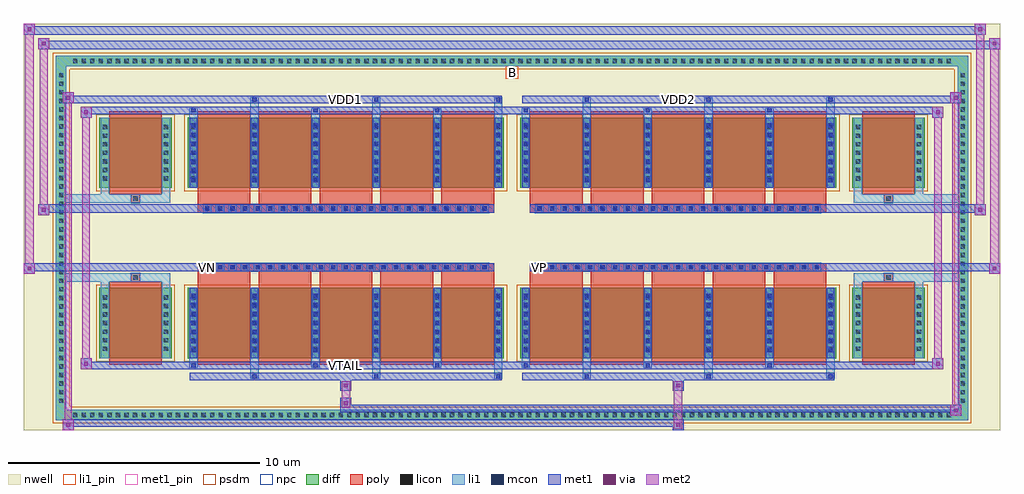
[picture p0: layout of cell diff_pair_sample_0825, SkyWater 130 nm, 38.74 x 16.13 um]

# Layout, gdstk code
import gdstk
lib = gdstk.Library(unit=1e-6, precision=5e-09)
def R(c, l, rs):  # rectangles x0, y0, x1, y1
    for r in rs: c.add(gdstk.rectangle(r[:2], r[2:], *l))
def A(c, l, x, y, w, h, nx, ny, dx, dy):  # array of equal rectangles
    R(c, l, [(x+i*dx, y+j*dy, x+i*dx+w, y+j*dy+h) for i in range(nx) for j in range(ny)])
def P(c, l, *ps):  # polygons
    for p in ps: c.add(gdstk.Polygon(p, *l))
nwell = (64, 20)
diff = (65, 20)
poly = (66, 20)
licon = (66, 44)
li1_pin = (67, 16)
li1 = (67, 20)
mcon = (67, 44)
met1_pin = (68, 16)
met1 = (68, 20)
via = (68, 44)
met2 = (69, 20)
psdm = (94, 20)
npc = (95, 20)

diff_pair_sample_0825 = lib.new_cell('diff_pair_sample_0825')
R(diff_pair_sample_0825, nwell, [(-19.37,-7.63,19.37,8.5), (-16.69,-5.82,-0.01,-0.8), (0.01,-5.82,16.69,-0.8), (-16.69,0.8,-0.01,5.82), (0.01,0.8,16.69,5.82)])
A(diff_pair_sample_0825, diff, -17.545, -7.23, 0.41, 0.41, 103, 2, 0.34, 14.05)
A(diff_pair_sample_0825, diff, -18.1, -6.665, 0.41, 0.41, 1, 39, 0, 0.34)
A(diff_pair_sample_0825, diff, 17.69, -6.665, 0.41, 0.41, 1, 39, 0, 0.34)
R(diff_pair_sample_0825, diff, [(-17.545,-7.23,17.545,-6.82), (-18.1,-6.665,-17.69,6.665), (17.69,-6.665,18.1,6.665), (-16.38,-4.775,-13.51,-1.985), (-12.87,-4.775,-0.32,-1.985), (0.32,-4.775,12.87,-1.985), (13.51,-4.775,16.38,-1.985), (-16.38,1.985,-13.51,4.775), (-12.87,1.985,-0.32,4.775), (0.32,1.985,12.87,4.775), (13.51,1.985,16.38,4.775), (-17.545,6.82,17.545,7.23)])
P(diff_pair_sample_0825, diff, [(18.1,7.23),(-18.1,7.23),(-18.1,-6.82),(-17.69,-6.82),(-17.69,6.82),(17.69,6.82),(17.69,-6.82),(-17.69,-6.82),(-18.1,-6.82),(-18.1,-7.23),(18.1,-7.23)])
A(diff_pair_sample_0825, poly, -12.48, -5.025, 2.09, 3.29, 5, 2, 2.42, 6.76)
A(diff_pair_sample_0825, poly, 0.71, -5.025, 2.09, 3.29, 5, 2, 2.42, 6.76)
A(diff_pair_sample_0825, poly, -12.48, -1.735, 2.09, 0.405, 5, 2, 2.42, 3.065)
A(diff_pair_sample_0825, poly, 0.71, -1.735, 2.09, 0.405, 5, 2, 2.42, 3.065)
A(diff_pair_sample_0825, poly, -12.26, -1.33, 0.33, 0.33, 23, 2, 0.5, 2.33)
A(diff_pair_sample_0825, poly, 0.93, -1.33, 0.33, 0.33, 23, 2, 0.5, 2.33)
R(diff_pair_sample_0825, poly, [(-15.99,-5.025,-13.9,-1.735), (13.9,-5.025,15.99,-1.735), (-15.11,-1.735,-14.78,-1.405), (-15.11,-1.735,-14.78,-1.405), (14.78,-1.735,15.11,-1.405), (14.78,-1.735,15.11,-1.405), (-12.48,-1.33,-0.71,-1), (0.71,-1.33,12.48,-1), (-12.48,1,-0.71,1.33), (0.71,1,12.48,1.33), (-15.11,1.405,-14.78,1.735), (-15.11,1.405,-14.78,1.735), (14.78,1.405,15.11,1.735), (14.78,1.405,15.11,1.735), (-15.99,1.735,-13.9,5.025), (13.9,1.735,15.99,5.025)])
A(diff_pair_sample_0825, licon, -17.425, -7.11, 0.17, 0.17, 103, 2, 0.34, 14.05)
A(diff_pair_sample_0825, licon, -17.98, -6.545, 0.17, 0.17, 1, 39, 0, 0.34)
A(diff_pair_sample_0825, licon, 17.81, -6.545, 0.17, 0.17, 1, 39, 0, 0.34)
A(diff_pair_sample_0825, licon, -16.24, -4.485, 0.17, 0.17, 1, 7, 0, 0.34)
A(diff_pair_sample_0825, licon, -13.82, -4.485, 0.17, 0.17, 1, 7, 0, 0.34)
A(diff_pair_sample_0825, licon, -12.73, -4.485, 0.17, 0.17, 6, 7, 2.42, 0.34)
A(diff_pair_sample_0825, licon, 0.46, -4.485, 0.17, 0.17, 6, 7, 2.42, 0.34)
A(diff_pair_sample_0825, licon, 13.65, -4.485, 0.17, 0.17, 1, 7, 0, 0.34)
A(diff_pair_sample_0825, licon, 16.07, -4.485, 0.17, 0.17, 1, 7, 0, 0.34)
A(diff_pair_sample_0825, licon, -12.18, -1.25, 0.17, 0.17, 23, 2, 0.5, 2.33)
A(diff_pair_sample_0825, licon, 1.01, -1.25, 0.17, 0.17, 23, 2, 0.5, 2.33)
A(diff_pair_sample_0825, licon, -16.24, 2.275, 0.17, 0.17, 1, 7, 0, 0.34)
A(diff_pair_sample_0825, licon, -13.82, 2.275, 0.17, 0.17, 1, 7, 0, 0.34)
A(diff_pair_sample_0825, licon, -12.73, 2.275, 0.17, 0.17, 6, 7, 2.42, 0.34)
A(diff_pair_sample_0825, licon, 0.46, 2.275, 0.17, 0.17, 6, 7, 2.42, 0.34)
A(diff_pair_sample_0825, licon, 13.65, 2.275, 0.17, 0.17, 1, 7, 0, 0.34)
A(diff_pair_sample_0825, licon, 16.07, 2.275, 0.17, 0.17, 1, 7, 0, 0.34)
R(diff_pair_sample_0825, licon, [(-15.03,-1.655,-14.86,-1.485), (14.86,-1.655,15.03,-1.485), (-15.03,1.485,-14.86,1.655), (14.86,1.485,15.03,1.655)])
R(diff_pair_sample_0825, li1_pin, [(-0.25,6.32,0.25,6.82)])
A(diff_pair_sample_0825, li1, -17.505, -7.19, 0.33, 0.33, 103, 2, 0.34, 14.05)
A(diff_pair_sample_0825, li1, -18.06, -6.625, 0.33, 0.33, 1, 39, 0, 0.34)
A(diff_pair_sample_0825, li1, 17.73, -6.625, 0.33, 0.33, 1, 39, 0, 0.34)
A(diff_pair_sample_0825, li1, -10.39, -5.58, 0.33, 0.805, 3, 2, 4.84, 10.355)
A(diff_pair_sample_0825, li1, -10.31, -5.58, 0.17, 0.17, 3, 2, 4.84, 10.99)
A(diff_pair_sample_0825, li1, 2.8, -5.58, 0.33, 0.805, 3, 2, 4.84, 10.355)
A(diff_pair_sample_0825, li1, 2.88, -5.58, 0.17, 0.17, 3, 2, 4.84, 10.99)
A(diff_pair_sample_0825, li1, -12.81, -5.15, 0.33, 0.375, 3, 2, 4.84, 9.925)
A(diff_pair_sample_0825, li1, -12.73, -5.15, 0.17, 0.17, 3, 2, 4.84, 10.13)
A(diff_pair_sample_0825, li1, 0.38, -5.15, 0.33, 0.375, 3, 2, 4.84, 9.925)
A(diff_pair_sample_0825, li1, 0.46, -5.15, 0.17, 0.17, 3, 2, 4.84, 10.13)
A(diff_pair_sample_0825, li1, -12.81, -4.775, 0.33, 2.79, 6, 2, 2.42, 6.76)
A(diff_pair_sample_0825, li1, 0.38, -4.775, 0.33, 2.79, 6, 2, 2.42, 6.76)
A(diff_pair_sample_0825, li1, -16.32, -4.565, 0.33, 0.33, 1, 7, 0, 0.34)
A(diff_pair_sample_0825, li1, -13.9, -4.565, 0.33, 0.33, 1, 7, 0, 0.34)
A(diff_pair_sample_0825, li1, -12.81, -4.565, 0.33, 0.33, 6, 7, 2.42, 0.34)
A(diff_pair_sample_0825, li1, 0.38, -4.565, 0.33, 0.33, 6, 7, 2.42, 0.34)
A(diff_pair_sample_0825, li1, 13.57, -4.565, 0.33, 0.33, 1, 7, 0, 0.34)
A(diff_pair_sample_0825, li1, 15.99, -4.565, 0.33, 0.33, 1, 7, 0, 0.34)
A(diff_pair_sample_0825, li1, -12.73, -4.545, 0.17, 0.17, 6, 7, 2.42, 0.36)
A(diff_pair_sample_0825, li1, -12.73, -4.545, 0.17, 2.33, 6, 2, 2.42, 6.76)
A(diff_pair_sample_0825, li1, 0.46, -4.545, 0.17, 0.17, 6, 7, 2.42, 0.36)
A(diff_pair_sample_0825, li1, 0.46, -4.545, 0.17, 2.33, 6, 2, 2.42, 6.76)
A(diff_pair_sample_0825, li1, -12.26, -1.33, 0.33, 0.33, 23, 2, 0.5, 2.33)
A(diff_pair_sample_0825, li1, 0.93, -1.33, 0.33, 0.33, 23, 2, 0.5, 2.33)
A(diff_pair_sample_0825, li1, -16.32, 2.195, 0.33, 0.33, 1, 7, 0, 0.34)
A(diff_pair_sample_0825, li1, -13.9, 2.195, 0.33, 0.33, 1, 7, 0, 0.34)
A(diff_pair_sample_0825, li1, -12.81, 2.195, 0.33, 0.33, 6, 7, 2.42, 0.34)
A(diff_pair_sample_0825, li1, 0.38, 2.195, 0.33, 0.33, 6, 7, 2.42, 0.34)
A(diff_pair_sample_0825, li1, 13.57, 2.195, 0.33, 0.33, 1, 7, 0, 0.34)
A(diff_pair_sample_0825, li1, 15.99, 2.195, 0.33, 0.33, 1, 7, 0, 0.34)
A(diff_pair_sample_0825, li1, -12.73, 2.215, 0.17, 0.17, 6, 7, 2.42, 0.36)
A(diff_pair_sample_0825, li1, 0.46, 2.215, 0.17, 0.17, 6, 7, 2.42, 0.36)
R(diff_pair_sample_0825, li1, [(-18.1,-7.23,-17.69,-6.82), (-18.1,-7.23,-17.69,-6.82), (-17.69,-7.23,17.69,-6.82), (17.69,-7.23,18.1,-6.82), (17.69,-7.23,18.1,-6.82), (-18.1,-6.82,-17.69,6.82), (17.69,-6.82,18.1,6.82), (-16.32,-4.775,-15.99,-1.985), (-13.9,-4.775,-13.57,-1.985), (13.57,-4.775,13.9,-1.985), (15.99,-4.775,16.32,-1.985), (-16.32,-1.985,-15.99,-1.405), (-13.9,-1.985,-13.57,-1.405), (13.57,-1.985,13.9,-1.405), (15.99,-1.985,16.32,-1.405), (-18.1,-1.735,-15.11,-1.405), (-16.32,-1.735,-15.11,-1.405), (-15.11,-1.735,-14.78,-1.405), (-14.78,-1.735,-13.57,-1.405), (13.57,-1.735,14.78,-1.405), (14.78,-1.735,15.11,-1.405), (14.78,-1.735,18.1,-1.405), (15.11,-1.735,16.32,-1.405), (-18.1,1.405,-15.11,1.735), (-16.32,1.405,-15.11,1.735), (-16.32,1.405,-15.99,1.985), (-15.11,1.405,-14.78,1.735), (-14.78,1.405,-13.57,1.735), (-13.9,1.405,-13.57,1.985), (13.57,1.405,14.78,1.735), (13.57,1.405,13.9,1.985), (14.78,1.405,15.11,1.735), (14.78,1.405,18.1,1.735), (15.11,1.405,16.32,1.735), (15.99,1.405,16.32,1.985), (-16.32,1.985,-15.99,4.775), (-13.9,1.985,-13.57,4.775), (13.57,1.985,13.9,4.775), (15.99,1.985,16.32,4.775), (-18.1,6.82,-17.69,7.23), (-18.1,6.82,-17.69,7.23), (-17.69,6.82,17.69,7.23), (17.69,6.82,18.1,7.23), (17.69,6.82,18.1,7.23)])
A(diff_pair_sample_0825, mcon, -10.31, -5.58, 0.17, 0.17, 3, 2, 4.84, 10.99)
A(diff_pair_sample_0825, mcon, 2.88, -5.58, 0.17, 0.17, 3, 2, 4.84, 10.99)
A(diff_pair_sample_0825, mcon, -12.73, -5.15, 0.17, 0.17, 3, 2, 4.84, 10.13)
A(diff_pair_sample_0825, mcon, 0.46, -5.15, 0.17, 0.17, 3, 2, 4.84, 10.13)
A(diff_pair_sample_0825, mcon, -12.73, -4.545, 0.17, 0.17, 6, 7, 2.42, 0.36)
A(diff_pair_sample_0825, mcon, 0.46, -4.545, 0.17, 0.17, 6, 7, 2.42, 0.36)
A(diff_pair_sample_0825, mcon, -12.18, -1.25, 0.17, 0.17, 23, 2, 0.5, 2.33)
A(diff_pair_sample_0825, mcon, 1.01, -1.25, 0.17, 0.17, 23, 2, 0.5, 2.33)
A(diff_pair_sample_0825, mcon, -12.73, 2.215, 0.17, 0.17, 6, 7, 2.42, 0.36)
A(diff_pair_sample_0825, mcon, 0.46, 2.215, 0.17, 0.17, 6, 7, 2.42, 0.36)
R(diff_pair_sample_0825, met1_pin, [(-6.73,-5.19,-6.46,-4.92), (-12.23,-1.29,-11.96,-1.02), (0.96,-1.29,1.23,-1.02), (-6.73,5.37,-6.46,5.64), (6.46,5.37,6.73,5.64)])
A(diff_pair_sample_0825, met1, -10.37, -5.64, 0.29, 0.29, 3, 2, 4.84, 10.99)
A(diff_pair_sample_0825, met1, 2.82, -5.64, 0.29, 0.29, 3, 2, 4.84, 10.99)
A(diff_pair_sample_0825, met1, -12.79, -5.21, 0.29, 0.29, 3, 2, 4.84, 10.13)
A(diff_pair_sample_0825, met1, 0.4, -5.21, 0.29, 0.29, 3, 2, 4.84, 10.13)
A(diff_pair_sample_0825, met1, -12.79, -4.775, 0.29, 2.79, 6, 2, 2.42, 6.76)
A(diff_pair_sample_0825, met1, 0.4, -4.775, 0.29, 2.79, 6, 2, 2.42, 6.76)
A(diff_pair_sample_0825, met1, -12.79, -4.605, 0.29, 0.29, 6, 7, 2.42, 0.36)
A(diff_pair_sample_0825, met1, 0.4, -4.605, 0.29, 0.29, 6, 7, 2.42, 0.36)
A(diff_pair_sample_0825, met1, -12.24, -1.31, 0.29, 0.29, 23, 2, 0.5, 2.33)
A(diff_pair_sample_0825, met1, 0.95, -1.31, 0.29, 0.29, 23, 2, 0.5, 2.33)
A(diff_pair_sample_0825, met1, -12.79, 2.155, 0.29, 0.29, 6, 7, 2.42, 0.36)
A(diff_pair_sample_0825, met1, 0.4, 2.155, 0.29, 0.29, 6, 7, 2.42, 0.36)
R(diff_pair_sample_0825, met1, [(-17.83,-7.63,-17.4,-7.2), (6.38,-7.63,6.81,-7.2), (-17.83,-7.49,6.81,-7.2), (17.4,-7.06,17.83,-6.63), (-6.81,-6.92,17.83,-6.63), (-6.81,-6.78,-6.38,-6.35), (-6.81,-6.07,-6.38,-5.64), (6.38,-6.07,6.81,-5.64), (-12.79,-5.64,-0.4,-5.35), (0.4,-5.64,12.79,-5.35), (-17.12,-5.21,-16.69,-4.78), (-17.12,-5.21,-12.79,-4.92), (-12.79,-5.21,-0.4,-4.92), (-0.4,-5.21,0.4,-4.92), (0.4,-5.21,12.79,-4.92), (12.79,-5.21,17.12,-4.92), (16.69,-5.21,17.12,-4.78), (-19.37,-1.43,-18.94,-1), (18.94,-1.43,19.37,-1), (-19.37,-1.33,-0.71,-1), (-12.48,-1.33,-0.71,-1), (0.71,-1.33,12.48,-1), (0.71,-1.33,19.37,-1), (-18.8,0.9,-18.37,1.33), (18.37,0.9,18.8,1.33), (-18.8,1,-12.48,1.33), (-12.48,1,-0.71,1.33), (0.71,1,12.48,1.33), (12.48,1,18.8,1.33), (-17.12,4.78,-16.69,5.21), (16.69,4.78,17.12,5.21), (-17.12,4.92,-12.79,5.21), (-12.79,4.92,-0.4,5.21), (-0.4,4.92,0.4,5.21), (0.4,4.92,12.79,5.21), (12.79,4.92,17.12,5.21), (-17.83,5.35,-17.4,5.78), (-17.83,5.35,-12.79,5.64), (-12.79,5.35,-0.4,5.64), (0.4,5.35,12.79,5.64), (12.79,5.35,17.83,5.64), (17.4,5.35,17.83,5.78), (-18.8,7.5,-18.37,7.93), (-18.8,7.5,-16.69,7.83), (-16.69,7.5,16.69,7.83), (16.69,7.5,19.37,7.83), (18.94,7.5,19.37,7.93), (-19.37,8.07,-18.94,8.5), (-19.37,8.07,-16.69,8.4), (-16.69,8.07,16.69,8.4), (16.69,8.07,18.8,8.4), (18.37,8.07,18.8,8.5)])
R(diff_pair_sample_0825, via, [(-17.69,-7.49,-17.54,-7.34), (6.52,-7.49,6.67,-7.34), (17.54,-6.92,17.69,-6.77), (-6.67,-6.64,-6.52,-6.49), (-6.67,-5.93,-6.52,-5.78), (6.52,-5.93,6.67,-5.78), (-16.98,-5.07,-16.83,-4.92), (16.83,-5.07,16.98,-4.92), (-19.23,-1.29,-19.08,-1.14), (19.08,-1.29,19.23,-1.14), (-18.66,1.04,-18.51,1.19), (18.51,1.04,18.66,1.19), (-16.98,4.92,-16.83,5.07), (16.83,4.92,16.98,5.07), (-17.69,5.49,-17.54,5.64), (17.54,5.49,17.69,5.64), (-18.66,7.64,-18.51,7.79), (19.08,7.64,19.23,7.79), (-19.23,8.21,-19.08,8.36), (18.51,8.21,18.66,8.36)])
R(diff_pair_sample_0825, met2, [(-17.83,-7.63,-17.4,-7.2), (-17.76,-7.63,-17.47,5.78), (-17.47,-7.63,-17.4,-7.2), (-17.78,-7.58,-17.45,-7.25), (6.43,-7.58,6.76,-7.25), (6.43,-7.25,6.76,-6.02), (17.4,-7.06,17.83,-6.63), (17.47,-7.06,17.76,5.78), (17.76,-7.06,17.83,-6.63), (17.45,-7.01,17.78,-6.68), (-6.76,-6.73,-6.43,-6.4), (-6.76,-6.4,-6.43,-6.02), (-6.76,-6.02,-6.43,-5.69), (6.43,-6.02,6.76,-5.69), (-17.12,-5.21,-16.69,-4.78), (-17.05,-5.21,-16.76,5.21), (-16.76,-5.21,-16.69,-4.78), (16.69,-5.21,17.12,-4.78), (16.76,-5.21,17.05,5.21), (17.05,-5.21,17.12,-4.78), (-17.07,-5.16,-16.74,-4.83), (16.74,-5.16,17.07,-4.83), (-19.37,-1.43,-18.94,-1), (-19.32,-1.43,-18.99,8.5), (-18.99,-1.43,-18.94,-1), (18.94,-1.43,19.37,-1), (18.99,-1.43,19.32,7.93), (19.32,-1.43,19.37,-1), (-19.32,-1.38,-18.99,-1.05), (18.99,-1.38,19.32,-1.05), (-18.8,0.9,-18.37,1.33), (-18.75,0.9,-18.42,7.93), (-18.42,0.9,-18.37,1.33), (18.37,0.9,18.8,1.33), (18.42,0.9,18.75,8.5), (18.75,0.9,18.8,1.33), (-18.75,0.95,-18.42,1.28), (18.42,0.95,18.75,1.28), (-17.12,4.78,-16.69,5.21), (-16.76,4.78,-16.69,5.21), (16.69,4.78,17.12,5.21), (17.05,4.78,17.12,5.21), (-17.07,4.83,-16.74,5.16), (16.74,4.83,17.07,5.16), (-17.83,5.35,-17.4,5.78), (-17.47,5.35,-17.4,5.78), (17.4,5.35,17.83,5.78), (17.76,5.35,17.83,5.78), (-17.78,5.4,-17.45,5.73), (17.45,5.4,17.78,5.73), (-18.8,7.5,-18.37,7.93), (-18.42,7.5,-18.37,7.93), (18.94,7.5,19.37,7.93), (19.32,7.5,19.37,7.93), (-18.75,7.55,-18.42,7.88), (18.99,7.55,19.32,7.88), (-19.37,8.07,-18.94,8.5), (-18.99,8.07,-18.94,8.5), (18.37,8.07,18.8,8.5), (18.75,8.07,18.8,8.5), (-19.32,8.12,-18.99,8.45), (18.42,8.12,18.75,8.45)])
R(diff_pair_sample_0825, psdm, [(-16.51,-4.905,-13.38,-1.855), (-13,-4.905,-0.19,-1.855), (0.19,-4.905,13,-1.855), (13.38,-4.905,16.51,-1.855), (-16.51,1.855,-13.38,4.905), (-13,1.855,-0.19,4.905), (0.19,1.855,13,4.905), (13.38,1.855,16.51,4.905)])
P(diff_pair_sample_0825, psdm, [(18.23,7.36),(-18.23,7.36),(-18.23,-6.69),(-17.56,-6.69),(-17.56,6.69),(17.56,6.69),(17.56,-6.69),(-17.56,-6.69),(-18.23,-6.69),(-18.23,-7.36),(18.23,-7.36)])
A(diff_pair_sample_0825, npc, -12.28, -1.35, 0.37, 0.37, 23, 2, 0.5, 2.33)
A(diff_pair_sample_0825, npc, 0.91, -1.35, 0.37, 0.37, 23, 2, 0.5, 2.33)
R(diff_pair_sample_0825, npc, [(-15.13,-1.755,-14.76,-1.385), (14.76,-1.755,15.13,-1.385), (-12.28,-1.35,-11.41,-0.98), (-12.28,-1.35,-11.41,-0.98), (-11.78,-1.35,-10.91,-0.98), (-11.78,-1.35,-10.91,-0.98), (-11.28,-1.35,-10.41,-0.98), (-11.28,-1.35,-10.41,-0.98), (-10.78,-1.35,-9.91,-0.98), (-10.78,-1.35,-9.91,-0.98), (-10.28,-1.35,-9.41,-0.98), (-10.28,-1.35,-9.41,-0.98), (-9.78,-1.35,-8.91,-0.98), (-9.78,-1.35,-8.91,-0.98), (-9.28,-1.35,-8.41,-0.98), (-9.28,-1.35,-8.41,-0.98), (-8.78,-1.35,-7.91,-0.98), (-8.78,-1.35,-7.91,-0.98), (-8.28,-1.35,-7.41,-0.98), (-8.28,-1.35,-7.41,-0.98), (-7.78,-1.35,-6.91,-0.98), (-7.78,-1.35,-6.91,-0.98), (-7.28,-1.35,-6.41,-0.98), (-7.28,-1.35,-6.41,-0.98), (-6.78,-1.35,-5.91,-0.98), (-6.78,-1.35,-5.91,-0.98), (-6.28,-1.35,-5.41,-0.98), (-6.28,-1.35,-5.41,-0.98), (-5.78,-1.35,-4.91,-0.98), (-5.78,-1.35,-4.91,-0.98), (-5.28,-1.35,-4.41,-0.98), (-5.28,-1.35,-4.41,-0.98), (-4.78,-1.35,-3.91,-0.98), (-4.78,-1.35,-3.91,-0.98), (-4.28,-1.35,-3.41,-0.98), (-4.28,-1.35,-3.41,-0.98), (-3.78,-1.35,-2.91,-0.98), (-3.78,-1.35,-2.91,-0.98), (-3.28,-1.35,-2.41,-0.98), (-3.28,-1.35,-2.41,-0.98), (-2.78,-1.35,-1.91,-0.98), (-2.78,-1.35,-1.91,-0.98), (-2.28,-1.35,-1.41,-0.98), (-2.28,-1.35,-1.41,-0.98), (-1.78,-1.35,-0.91,-0.98), (-1.78,-1.35,-0.91,-0.98), (0.91,-1.35,1.78,-0.98), (0.91,-1.35,1.78,-0.98), (1.41,-1.35,2.28,-0.98), (1.41,-1.35,2.28,-0.98), (1.91,-1.35,2.78,-0.98), (1.91,-1.35,2.78,-0.98), (2.41,-1.35,3.28,-0.98), (2.41,-1.35,3.28,-0.98), (2.91,-1.35,3.78,-0.98), (2.91,-1.35,3.78,-0.98), (3.41,-1.35,4.28,-0.98), (3.41,-1.35,4.28,-0.98), (3.91,-1.35,4.78,-0.98), (3.91,-1.35,4.78,-0.98), (4.41,-1.35,5.28,-0.98), (4.41,-1.35,5.28,-0.98), (4.91,-1.35,5.78,-0.98), (4.91,-1.35,5.78,-0.98), (5.41,-1.35,6.28,-0.98), (5.41,-1.35,6.28,-0.98), (5.91,-1.35,6.78,-0.98), (5.91,-1.35,6.78,-0.98), (6.41,-1.35,7.28,-0.98), (6.41,-1.35,7.28,-0.98), (6.91,-1.35,7.78,-0.98), (6.91,-1.35,7.78,-0.98), (7.41,-1.35,8.28,-0.98), (7.41,-1.35,8.28,-0.98), (7.91,-1.35,8.78,-0.98), (7.91,-1.35,8.78,-0.98), (8.41,-1.35,9.28,-0.98), (8.41,-1.35,9.28,-0.98), (8.91,-1.35,9.78,-0.98), (8.91,-1.35,9.78,-0.98), (9.41,-1.35,10.28,-0.98), (9.41,-1.35,10.28,-0.98), (9.91,-1.35,10.78,-0.98), (9.91,-1.35,10.78,-0.98), (10.41,-1.35,11.28,-0.98), (10.41,-1.35,11.28,-0.98), (10.91,-1.35,11.78,-0.98), (10.91,-1.35,11.78,-0.98), (11.41,-1.35,12.28,-0.98), (11.41,-1.35,12.28,-0.98), (-12.28,0.98,-11.41,1.35), (-12.28,0.98,-11.41,1.35), (-11.78,0.98,-10.91,1.35), (-11.78,0.98,-10.91,1.35), (-11.28,0.98,-10.41,1.35), (-11.28,0.98,-10.41,1.35), (-10.78,0.98,-9.91,1.35), (-10.78,0.98,-9.91,1.35), (-10.28,0.98,-9.41,1.35), (-10.28,0.98,-9.41,1.35), (-9.78,0.98,-8.91,1.35), (-9.78,0.98,-8.91,1.35), (-9.28,0.98,-8.41,1.35), (-9.28,0.98,-8.41,1.35), (-8.78,0.98,-7.91,1.35), (-8.78,0.98,-7.91,1.35), (-8.28,0.98,-7.41,1.35), (-8.28,0.98,-7.41,1.35), (-7.78,0.98,-6.91,1.35), (-7.78,0.98,-6.91,1.35), (-7.28,0.98,-6.41,1.35), (-7.28,0.98,-6.41,1.35), (-6.78,0.98,-5.91,1.35), (-6.78,0.98,-5.91,1.35), (-6.28,0.98,-5.41,1.35), (-6.28,0.98,-5.41,1.35), (-5.78,0.98,-4.91,1.35), (-5.78,0.98,-4.91,1.35), (-5.28,0.98,-4.41,1.35), (-5.28,0.98,-4.41,1.35), (-4.78,0.98,-3.91,1.35), (-4.78,0.98,-3.91,1.35), (-4.28,0.98,-3.41,1.35), (-4.28,0.98,-3.41,1.35), (-3.78,0.98,-2.91,1.35), (-3.78,0.98,-2.91,1.35), (-3.28,0.98,-2.41,1.35), (-3.28,0.98,-2.41,1.35), (-2.78,0.98,-1.91,1.35), (-2.78,0.98,-1.91,1.35), (-2.28,0.98,-1.41,1.35), (-2.28,0.98,-1.41,1.35), (-1.78,0.98,-0.91,1.35), (-1.78,0.98,-0.91,1.35), (0.91,0.98,1.78,1.35), (0.91,0.98,1.78,1.35), (1.41,0.98,2.28,1.35), (1.41,0.98,2.28,1.35), (1.91,0.98,2.78,1.35), (1.91,0.98,2.78,1.35), (2.41,0.98,3.28,1.35), (2.41,0.98,3.28,1.35), (2.91,0.98,3.78,1.35), (2.91,0.98,3.78,1.35), (3.41,0.98,4.28,1.35), (3.41,0.98,4.28,1.35), (3.91,0.98,4.78,1.35), (3.91,0.98,4.78,1.35), (4.41,0.98,5.28,1.35), (4.41,0.98,5.28,1.35), (4.91,0.98,5.78,1.35), (4.91,0.98,5.78,1.35), (5.41,0.98,6.28,1.35), (5.41,0.98,6.28,1.35), (5.91,0.98,6.78,1.35), (5.91,0.98,6.78,1.35), (6.41,0.98,7.28,1.35), (6.41,0.98,7.28,1.35), (6.91,0.98,7.78,1.35), (6.91,0.98,7.78,1.35), (7.41,0.98,8.28,1.35), (7.41,0.98,8.28,1.35), (7.91,0.98,8.78,1.35), (7.91,0.98,8.78,1.35), (8.41,0.98,9.28,1.35), (8.41,0.98,9.28,1.35), (8.91,0.98,9.78,1.35), (8.91,0.98,9.78,1.35), (9.41,0.98,10.28,1.35), (9.41,0.98,10.28,1.35), (9.91,0.98,10.78,1.35), (9.91,0.98,10.78,1.35), (10.41,0.98,11.28,1.35), (10.41,0.98,11.28,1.35), (10.91,0.98,11.78,1.35), (10.91,0.98,11.78,1.35), (11.41,0.98,12.28,1.35), (11.41,0.98,12.28,1.35), (-15.13,1.385,-14.76,1.755), (14.76,1.385,15.13,1.755)])
diff_pair_sample_0825.add(gdstk.Label('VTAIL', (-6.595,-5.055), layer=68, texttype=5))
diff_pair_sample_0825.add(gdstk.Label('VN', (-12.095,-1.155), layer=68, texttype=5))
diff_pair_sample_0825.add(gdstk.Label('VP', (1.095,-1.155), layer=68, texttype=5))
diff_pair_sample_0825.add(gdstk.Label('B', (0,6.57), layer=67, texttype=5))
diff_pair_sample_0825.add(gdstk.Label('VDD2', (6.595,5.505), layer=68, texttype=5))
diff_pair_sample_0825.add(gdstk.Label('VDD1', (-6.595,5.505), layer=68, texttype=5))

lib.write_gds('diff_pair_sample_0825.gds')
